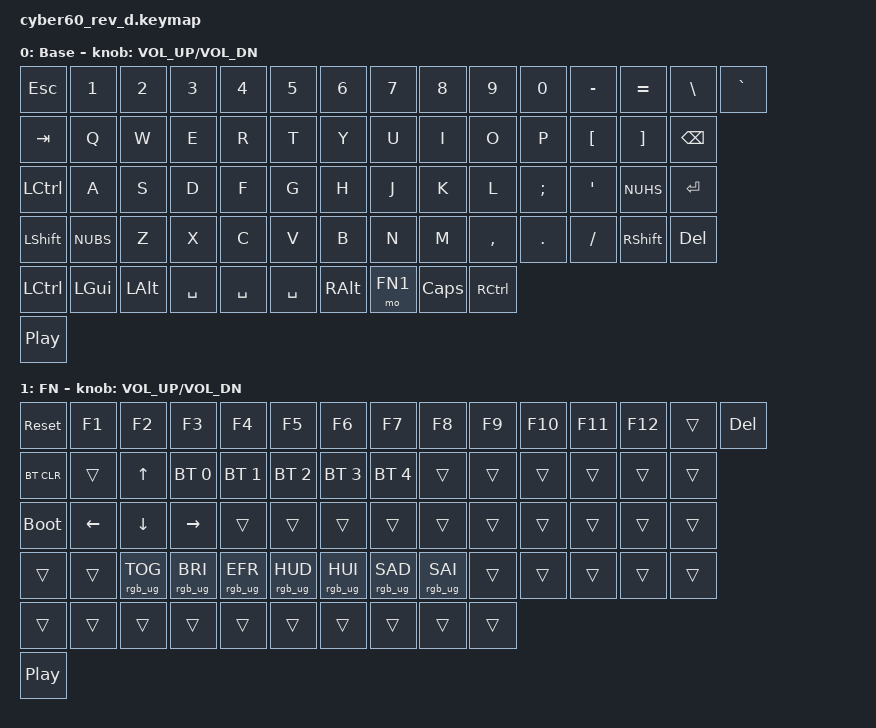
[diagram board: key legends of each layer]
#include <behaviors.dtsi>
#include <dt-bindings/zmk/bt.h>
#include <dt-bindings/zmk/keys.h>
#include <dt-bindings/zmk/rgb.h>

#define FN1 1

/ {
    keymap {
        compatible = "zmk,keymap";

        base_layer {
            display-name = "Base";
            bindings = <
	&kp ESC		&kp N1		&kp N2		&kp N3		&kp N4		&kp N5    &kp N6   &kp N7    &kp N8     &kp N9		&kp N0  	&kp MINUS	&kp EQUAL	&kp BSLH  &kp GRAVE
	&kp TAB     &kp Q		&kp W		&kp E		&kp R		&kp T     &kp Y    &kp U     &kp I      &kp O		&kp P   	&kp LBKT	&kp RBKT	&kp BSPC
	&kp LCTRL	&kp A		&kp S		&kp D		&kp F		&kp G     &kp H    &kp J     &kp K      &kp L		&kp SEMI	&kp SQT		&kp NUHS	&kp RET
	&kp LSHFT	&kp NUBS	&kp Z		&kp X		&kp C		&kp V     &kp B    &kp N     &kp M  	&kp COMMA   &kp DOT   	&kp FSLH	&kp RSHFT   &kp DEL
	&kp LCTRL	&kp LGUI	&kp LALT	&kp SPACE	&kp SPACE	&kp SPACE  &kp RALT  &mo FN1  &kp CAPS  &kp RCTRL
	&kp C_PP
            >;

            sensor-bindings = <&inc_dec_kp C_VOL_UP C_VOL_DN>;
        };

        fn_layer {
            display-name = "FN";
            bindings = <
	&sys_reset	&kp F1		&kp F2          &kp F3          &kp F4          &kp F5          &kp F6          &kp F7          &kp F8  		&kp F9	&kp F10  &kp F11  &kp F12 &trans  &kp DEL
	&bt BT_CLR	&trans		&kp UP     		&bt BT_SEL 0    &bt BT_SEL 1    &bt BT_SEL 2    &bt BT_SEL 3    &bt BT_SEL 4    &trans  		&trans  &trans   &trans   &trans  &trans
	&bootloader	&kp LEFT	&kp DOWN        &kp RIGHT       &trans          &trans          &trans          &trans          &trans  		&trans  &trans   &trans   &trans  &trans
    &trans		&trans		&rgb_ug RGB_TOG	&rgb_ug RGB_BRI	&rgb_ug RGB_EFR	&rgb_ug RGB_HUD	&rgb_ug RGB_HUI	&rgb_ug RGB_SAD	&rgb_ug RGB_SAI &trans  &trans   &trans   &trans  &trans
    &trans		&trans		&trans          &trans          &trans          &trans          &trans          &trans          &trans  		&trans
	&kp C_PP
            >;

            sensor-bindings = <&inc_dec_kp C_VOL_UP C_VOL_DN>;
        };
    };
};
